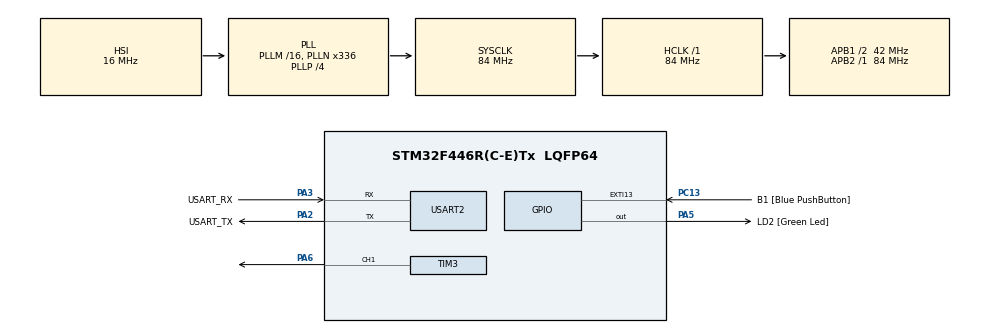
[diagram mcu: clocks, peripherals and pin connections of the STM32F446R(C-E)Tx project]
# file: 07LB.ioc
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Mcu.Family=STM32F4
Mcu.Name=STM32F446R(C-E)Tx
Mcu.Package=LQFP64
NVIC.PriorityGroup=NVIC_PRIORITYGROUP_0
NVIC.USART2_IRQn=true\:0\:0\:false\:false\:true\:true\:true\:true
PA13.GPIO_Label=TMS
PA13.Signal=SYS_JTMS-SWDIO
PA14.GPIO_Label=TCK
PA14.Signal=SYS_JTCK-SWCLK
PA2.GPIO_Label=USART_TX
PA2.Mode=Asynchronous
PA2.Signal=USART2_TX
PA3.GPIO_Label=USART_RX
PA3.Mode=Asynchronous
PA3.Signal=USART2_RX
PA5.GPIO_Label=LD2 [Green Led]
PA5.Signal=GPIO_Output
PA6.Signal=S_TIM3_CH1
PB3.GPIO_Label=SWO
PB3.Signal=SYS_JTDO-SWO
PC13.GPIO_Label=B1 [Blue PushButton]
PC13.GPIO_ModeDefaultEXTI=GPIO_MODE_IT_FALLING
PC13.Signal=GPXTI13
PC14-OSC32_IN.Signal=RCC_OSC32_IN
PC15-OSC32_OUT.Signal=RCC_OSC32_OUT
PH0-OSC_IN.Signal=RCC_OSC_IN
PH1-OSC_OUT.Signal=RCC_OSC_OUT
ProjectManager.HeapSize=0x200
ProjectManager.StackSize=0x400
ProjectManager.TargetToolchain=STM32CubeIDE
RCC.AHBFreq_Value=84000000
RCC.APB1CLKDivider=RCC_HCLK_DIV2
RCC.APB1Freq_Value=42000000
RCC.APB1TimFreq_Value=84000000
RCC.APB2Freq_Value=84000000
RCC.APB2TimFreq_Value=84000000
RCC.CortexFreq_Value=84000000
RCC.FLatency-AdvancedSettings=FLASH_LATENCY_2
RCC.HCLKFreq_Value=84000000
RCC.HSE_VALUE=8000000
RCC.HSI_VALUE=16000000
RCC.LSE_VALUE=32768
RCC.PLLN=336
RCC.PLLP=RCC_PLLP_DIV4
RCC.SYSCLKFreq_VALUE=84000000
RCC.SYSCLKSource=RCC_SYSCLKSOURCE_PLLCLK
RCC.USBFreq_Value=168000000
RCC.VCOOutputFreq_Value=336000000
SH.S_TIM3_CH1.0=TIM3_CH1,Output Compare1 CH1
TIM3.Channel-Output\ Compare1\ CH1=TIM_CHANNEL_1
TIM3.OCMode_1=TIM_OCMODE_TOGGLE
TIM3.Prescaler=1
USART2.VirtualMode=VM_ASYNC
VP_TIM3_VS_ClockSourceINT.Mode=Internal
board=NUCLEO-F446RE

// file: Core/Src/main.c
/* USER CODE BEGIN Header */
/**
  ******************************************************************************
  * @file           : main.c
  * @brief          : Main program body
  ******************************************************************************
  * @attention
  *
  * Copyright (c) 2025 STMicroelectronics.
  * All rights reserved.
  *
  * This software is licensed under terms that can be found in the LICENSE file
  * in the root directory of this software component.
  * If no LICENSE file comes with this software, it is provided AS-IS.
  *
  ******************************************************************************
  */
/* USER CODE END Header */
#include "main.h"

/* USER CODE BEGIN PM */

// values for the ARR
#define A4  47726
#define B4  42519
#define C4  40132
#define D4  35755
#define E4  31853
#define F4  30065
#define G4  26785

#define A8  23863
#define B8  21259
#define C8  20066
#define D8  17877
#define E8  15926
#define F8  15032
#define G8  13392

#define MUTE  0
#define END   65535

/* USER CODE END PM */

TIM_HandleTypeDef htim3;

UART_HandleTypeDef huart2;

/* USER CODE BEGIN PV */

uint16_t ui16PlayList[30][2];
uint16_t ui16NoteTime;
uint8_t  ui8NoteIndex;

uint16_t ui16KeyList[10];

uint8_t ui8RX;
uint16_t ui16KeyTime;

/* USER CODE END PV */

void SystemClock_Config(void);
static void MX_GPIO_Init(void);
static void MX_TIM3_Init(void);
static void MX_USART2_UART_Init(void);

int main(void)
{

  /* MCU Configuration--------------------------------------------------------*/

  /* Reset of all peripherals, Initializes the Flash interface and the Systick. */
  HAL_Init();

  /* Configure the system clock */
  SystemClock_Config();

  /* Initialize all configured peripherals */
  MX_GPIO_Init();
  MX_TIM3_Init();
  MX_USART2_UART_Init();
  /* USER CODE BEGIN 2 */

  PlayListInit();
  HAL_TIM_OC_Start(&htim3, TIM_CHANNEL_1);
  ui8NoteIndex = 0;

  //start RX on USART2
  HAL_UART_Receive_IT(&huart2, &ui8RX, 1);

  /* USER CODE END 2 */

  /* Infinite loop */
  /* USER CODE BEGIN WHILE */
  while (1)
  {
	  PlayMainLoop();

    /* USER CODE END WHILE */

  }
}

void SystemClock_Config(void)
{
  RCC_OscInitTypeDef RCC_OscInitStruct = {0};
  RCC_ClkInitTypeDef RCC_ClkInitStruct = {0};

  /** Configure the main internal regulator output voltage
  */
  __HAL_RCC_PWR_CLK_ENABLE();
  __HAL_PWR_VOLTAGESCALING_CONFIG(PWR_REGULATOR_VOLTAGE_SCALE3);

  /** Initializes the RCC Oscillators according to the specified parameters
  * in the RCC_OscInitTypeDef structure.
  */
  RCC_OscInitStruct.OscillatorType = RCC_OSCILLATORTYPE_HSI;
  RCC_OscInitStruct.HSIState = RCC_HSI_ON;
  RCC_OscInitStruct.HSICalibrationValue = RCC_HSICALIBRATION_DEFAULT;
  RCC_OscInitStruct.PLL.PLLState = RCC_PLL_ON;
  RCC_OscInitStruct.PLL.PLLSource = RCC_PLLSOURCE_HSI;
  RCC_OscInitStruct.PLL.PLLM = 16;
  RCC_OscInitStruct.PLL.PLLN = 336;
  RCC_OscInitStruct.PLL.PLLP = RCC_PLLP_DIV4;
  RCC_OscInitStruct.PLL.PLLQ = 2;
  RCC_OscInitStruct.PLL.PLLR = 2;
  if (HAL_RCC_OscConfig(&RCC_OscInitStruct) != HAL_OK)
  {
    Error_Handler();
  }

  /** Initializes the CPU, AHB and APB buses clocks
  */
  RCC_ClkInitStruct.ClockType = RCC_CLOCKTYPE_HCLK|RCC_CLOCKTYPE_SYSCLK
                              |RCC_CLOCKTYPE_PCLK1|RCC_CLOCKTYPE_PCLK2;
  RCC_ClkInitStruct.SYSCLKSource = RCC_SYSCLKSOURCE_PLLCLK;
  RCC_ClkInitStruct.AHBCLKDivider = RCC_SYSCLK_DIV1;
  RCC_ClkInitStruct.APB1CLKDivider = RCC_HCLK_DIV2;
  RCC_ClkInitStruct.APB2CLKDivider = RCC_HCLK_DIV1;

  if (HAL_RCC_ClockConfig(&RCC_ClkInitStruct, FLASH_LATENCY_2) != HAL_OK)
  {
    Error_Handler();
  }
}

static void MX_TIM3_Init(void)
{

  TIM_ClockConfigTypeDef sClockSourceConfig = {0};
  TIM_MasterConfigTypeDef sMasterConfig = {0};
  TIM_OC_InitTypeDef sConfigOC = {0};

  htim3.Instance = TIM3;
  htim3.Init.Prescaler = 1;
  htim3.Init.CounterMode = TIM_COUNTERMODE_UP;
  htim3.Init.Period = 65535;
  htim3.Init.ClockDivision = TIM_CLOCKDIVISION_DIV1;
  htim3.Init.AutoReloadPreload = TIM_AUTORELOAD_PRELOAD_DISABLE;
  if (HAL_TIM_Base_Init(&htim3) != HAL_OK)
  {
    Error_Handler();
  }
  sClockSourceConfig.ClockSource = TIM_CLOCKSOURCE_INTERNAL;
  if (HAL_TIM_ConfigClockSource(&htim3, &sClockSourceConfig) != HAL_OK)
  {
    Error_Handler();
  }
  if (HAL_TIM_OC_Init(&htim3) != HAL_OK)
  {
    Error_Handler();
  }
  sMasterConfig.MasterOutputTrigger = TIM_TRGO_RESET;
  sMasterConfig.MasterSlaveMode = TIM_MASTERSLAVEMODE_DISABLE;
  if (HAL_TIMEx_MasterConfigSynchronization(&htim3, &sMasterConfig) != HAL_OK)
  {
    Error_Handler();
  }
  sConfigOC.OCMode = TIM_OCMODE_TOGGLE;
  sConfigOC.Pulse = 0;
  sConfigOC.OCPolarity = TIM_OCPOLARITY_HIGH;
  sConfigOC.OCFastMode = TIM_OCFAST_DISABLE;
  if (HAL_TIM_OC_ConfigChannel(&htim3, &sConfigOC, TIM_CHANNEL_1) != HAL_OK)
  {
    Error_Handler();
  }
  HAL_TIM_MspPostInit(&htim3);

}

static void MX_USART2_UART_Init(void)
{

  huart2.Instance = USART2;
  huart2.Init.BaudRate = 115200;
  huart2.Init.WordLength = UART_WORDLENGTH_8B;
  huart2.Init.StopBits = UART_STOPBITS_1;
  huart2.Init.Parity = UART_PARITY_NONE;
  huart2.Init.Mode = UART_MODE_TX_RX;
  huart2.Init.HwFlowCtl = UART_HWCONTROL_NONE;
  huart2.Init.OverSampling = UART_OVERSAMPLING_16;
  if (HAL_UART_Init(&huart2) != HAL_OK)
  {
    Error_Handler();
  }

}

static void MX_GPIO_Init(void)
{
  GPIO_InitTypeDef GPIO_InitStruct = {0};

  /* GPIO Ports Clock Enable */
  __HAL_RCC_GPIOC_CLK_ENABLE();
  __HAL_RCC_GPIOH_CLK_ENABLE();
  __HAL_RCC_GPIOA_CLK_ENABLE();
  __HAL_RCC_GPIOB_CLK_ENABLE();

  /*Configure GPIO pin Output Level */
  HAL_GPIO_WritePin(LD2_GPIO_Port, LD2_Pin, GPIO_PIN_RESET);

  /*Configure GPIO pin : B1_Pin */
  GPIO_InitStruct.Pin = B1_Pin;
  GPIO_InitStruct.Mode = GPIO_MODE_IT_FALLING;
  GPIO_InitStruct.Pull = GPIO_NOPULL;
  HAL_GPIO_Init(B1_GPIO_Port, &GPIO_InitStruct);

  /*Configure GPIO pin : LD2_Pin */
  GPIO_InitStruct.Pin = LD2_Pin;
  GPIO_InitStruct.Mode = GPIO_MODE_OUTPUT_PP;
  GPIO_InitStruct.Pull = GPIO_NOPULL;
  GPIO_InitStruct.Speed = GPIO_SPEED_FREQ_LOW;
  HAL_GPIO_Init(LD2_GPIO_Port, &GPIO_InitStruct);

}

/* USER CODE BEGIN 4 */
///uint16_t ui16PlayList[30][2];
//uint16_t ui16NoteTime;
//uint8_t  ui8NoteIndex;
void PlayListInit(void)
{
	//ui16PlayList[x][0] = ARR Value
	//ui16PlayList[x][1] = Note Time [mS]

	ui16PlayList[0][0] = A4;
	ui16PlayList[0][1] = 100;

	ui16PlayList[1][0] = B4;
	ui16PlayList[1][1] = 100;

	ui16PlayList[2][0] = A4;
	ui16PlayList[2][1] = 100;

	ui16PlayList[3][0] = C4;
	ui16PlayList[3][1] = 100;

	ui16PlayList[4][0] = A4;
	ui16PlayList[4][1] = 100;

	ui16PlayList[5][0] = D4;
	ui16PlayList[5][1] = 100;

	ui16PlayList[6][0] = A4;
	ui16PlayList[6][1] = 100;

	ui16PlayList[7][0] = E4;
	ui16PlayList[7][1] = 100;

	ui16PlayList[8][0] = A4;
	ui16PlayList[8][1] = 100;

	ui16PlayList[9][0] = E4;
	ui16PlayList[9][1] = 100;

	ui16PlayList[10][0] = A4;
	ui16PlayList[10][1] = 100;

	ui16PlayList[11][0] = MUTE;
	ui16PlayList[11][1] = 400;

	ui16PlayList[12][0] = A4;
	ui16PlayList[12][1] = 100;

	ui16PlayList[13][0] = G4;
	ui16PlayList[13][1] = 100;

	ui16PlayList[14][0] = END;
	ui16PlayList[14][1] = 0;

	ui16KeyList[0] = A8;
	ui16KeyList[1] = B8;
	ui16KeyList[2] = C8;
	ui16KeyList[3] = D8;
	ui16KeyList[4] = E8;
	ui16KeyList[5] = F8;
	ui16KeyList[6] = G8;
	ui16KeyList[7] = A4;
	ui16KeyList[8] = B4;
	ui16KeyList[9] = C4;

}

void PlayMainLoop(void)
{
	if(ui8NoteIndex != 255)
	{
		// playing
		if(!ui16NoteTime)
		{// end of current note time
			if(ui16PlayList[ui8NoteIndex][0] == END)
			{ // end playlist
				__HAL_TIM_SET_AUTORELOAD(&htim3,0);
				ui8NoteIndex = 255;
				return;
			}
			else
			{
				/// next note
				__HAL_TIM_SET_AUTORELOAD(&htim3,ui16PlayList[ui8NoteIndex][0]);  // load new ARR value
				ui16NoteTime = ui16PlayList[ui8NoteIndex][1];	// new note time
			}
			// next note
			ui8NoteIndex ++;
		}
	}
}

void PlayTimer1KHZ(void)
{
	if(ui16NoteTime) ui16NoteTime --;

	if(ui16KeyTime)
	{
		ui16KeyTime --;
		if(ui16KeyTime == 0) __HAL_TIM_SET_AUTORELOAD(&htim3,0);
	}
}

void HAL_UART_RxCpltCallback(UART_HandleTypeDef *huart)
{
  /* Prevent unused argument(s) compilation warning */
  //UNUSED(huart);
  /* NOTE: This function should not be modified, when the callback is needed,
           the HAL_UART_RxCpltCallback could be implemented in the user file
   */

	if((ui8RX >='1') && (ui8RX <='9'))
	{
		__HAL_TIM_SET_AUTORELOAD(&htim3,ui16KeyList[(ui8RX-'1')]);  // load new ARR value
		ui16KeyTime = 80;	// new key time
	}

	HAL_UART_Receive_IT(&huart2, &ui8RX, 1);
}

/* USER CODE END 4 */

void Error_Handler(void)
{
  __disable_irq();
  while (1)
  {
  }
}
